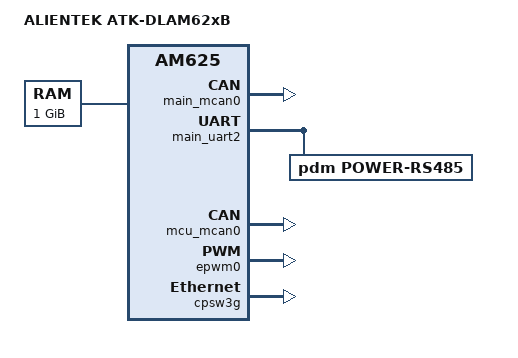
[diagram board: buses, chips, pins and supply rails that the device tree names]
// SPDX-License-Identifier: GPL-2.0-only OR MIT
/*
 * ALIENTEK ATK-DLAM62xB device tree
 */

/dts-v1/;

#include "k3-am625.dtsi"
#include "k3-am62x-sk-common.dtsi"

/ {
	model = "ALIENTEK ATK-DLAM62xB";
	compatible = "alientek,atk-dlam62xb", "ti,am625";

	aliases {
		serial3 = &main_uart2;
	};

	memory@80000000 {
		device_type = "memory";
		reg = <0x00000000 0x80000000 0x00000000 0x40000000>;
		bootph-pre-ram;
	};

	pdm_bus: pdm-bus {
		compatible = "pdm,bus-type";
		#address-cells = <1>;
		#size-cells = <0>;

		main_mcu: mcu@1 {
			compatible = "pdm,mcu-can";
			reg = <1>;
			pdm,id = <0>;
			pdm,name = "main_mcu";
			can-controller = <&main_mcan0>;
			pdm,rx-timeout-ms = <100>;
			pdm,can-fd;
		};

		satellite: satellite@2 {
			compatible = "pdm,satellite-can";
			reg = <2>;
			pdm,id = <0>;
			pdm,name = "satellite";
			can-controller = <&mcu_mcan0>;
			pdm,rx-timeout-ms = <100>;
			pdm,can-fd;
		};
	};

	/* These peripherals are specific to the TI AM625 SK. */
	/delete-node/ leds;
	/delete-node/ clk-0;
	/delete-node/ sound;
	/delete-node/ connector-hdmi;
};

&main_i2c0 {
	/delete-node/ eeprom@51;
	/delete-node/ tps6598x@3f;
};

&main_i2c1 {
	/delete-node/ audio-codec@1b;
	/delete-node/ bridge-hdmi@3b;
};

&usb0 {
	/delete-property/ usb-role-switch;
	/delete-node/ port;
};

&mcasp1 {
	status = "disabled";
};

&dss {
	status = "disabled";
};

&dss_ports {
	/delete-node/ port@1;
};

&main_pmx0 {
	/* J11 pins 3/4: UART2 via automatic-direction SP3485 U12. */
	atk_main_uart2_pins_default: atk-main-uart2-default-pins {
		pinctrl-single,pins = <
			AM62X_IOPAD(0x01d0, PIN_INPUT, 3) /* (A15) UART0_CTSn.UART2_RXD */
			AM62X_IOPAD(0x01d4, PIN_OUTPUT, 3) /* (B15) UART0_RTSn.UART2_TXD */
		>;
	};

	atk_main_mcan0_pins_default: atk-main-mcan0-default-pins {
		pinctrl-single,pins = <
			AM62X_IOPAD(0x01dc, PIN_INPUT, 0) /* (E15) MCAN0_RX */
			AM62X_IOPAD(0x01d8, PIN_OUTPUT, 0) /* (C15) MCAN0_TX */
		>;
	};

	/* Servo/debug PWM on fan connector J15 pin 4. */
	atk_epwm0_b_pins_default: atk-epwm0b-default-pins {
		pinctrl-single,pins = <
			AM62X_IOPAD(0x01b8, PIN_OUTPUT, 2) /* (C13) SPI0_CS1.EHRPWM0_B */
		>;
	};
};

&mcu_pmx0 {
	atk_mcu_mcan0_pins_default: atk-mcu-mcan0-default-pins {
		pinctrl-single,pins = <
			AM62X_MCU_IOPAD(0x034, PIN_OUTPUT, 0) /* (D6) MCU_MCAN0_TX */
			AM62X_MCU_IOPAD(0x038, PIN_INPUT, 0)  /* (B3) MCU_MCAN0_RX */
		>;
	};
};

&main_mcan0 {
	pinctrl-names = "default";
	pinctrl-0 = <&atk_main_mcan0_pins_default>;
	status = "okay";
};

&main_uart2 {
	pinctrl-names = "default";
	pinctrl-0 = <&atk_main_uart2_pins_default>;
	status = "okay";

	/* The board switches DE/RE using TXD, not UART RTS or a GPIO. */
	power-rs485 {
		compatible = "pdm,power-rs485";
		current-speed = <9600>;
		pdm,transaction-timeout-ms = <500>;
		#address-cells = <1>;
		#size-cells = <0>;

		/* The connected SPPS3010R-2KD responds at slave address 12. */
		dc_power: power@c {
			compatible = "pdm,power-modbus";
			reg = <12>;
			pdm,id = <0>;
			pdm,name = "dc_power";
			pdm,register-profile = "dual-independent";
			serial-controller = <&main_uart2>;
			pdm,max-voltage-microvolt = <30000000>;
			pdm,max-current-microamp = <10000000>;
		};
	};
};

&mcu_mcan0 {
	pinctrl-names = "default";
	pinctrl-0 = <&atk_mcu_mcan0_pins_default>;
	status = "okay";
};

&epwm0 {
	pinctrl-names = "default";
	pinctrl-0 = <&atk_epwm0_b_pins_default>;
	status = "okay";
};

/* The TF card and VDDSHV_SDIO are supplied directly from fixed 3.3 V. */
&sdhci1 {
	max-frequency = <25000000>;
	no-1-8-v;
	ti,otap-del-sel-legacy = <0x8>;
	ti,otap-del-sel-sd-hs = <0x0>;
	ti,otap-del-sel-sdr12 = <0x0>;
	ti,otap-del-sel-sdr25 = <0x0>;
	ti,otap-del-sel-sdr50 = <0x8>;
	ti,otap-del-sel-sdr104 = <0x7>;
	ti,otap-del-sel-ddr50 = <0x4>;
	ti,itap-del-sel-legacy = <0xa>;
	ti,itap-del-sel-sd-hs = <0x1>;
	ti,itap-del-sel-sdr12 = <0xa>;
	ti,itap-del-sel-sdr25 = <0x1>;
};

/* The board uses a Motorcomm YT8531C instead of the TI SK DP83867. */
&cpsw3g_phy0 {
	/delete-property/ ti,rx-internal-delay;
	/delete-property/ ti,fifo-depth;
	/delete-property/ ti,min-output-impedance;
	motorcomm,auto-sleep-disabled;
};

&cpsw3g {
	status = "okay";
};

&cpsw_port2 {
	status = "disabled";
};

&usbss0 {
	status = "disabled";
};

&usbss1 {
	status = "disabled";
};

&gpu {
	status = "disabled";
};

&pruss {
	status = "disabled";
};

&ecap0 {
	status = "disabled";
};

&ecap2 {
	status = "disabled";
};

&epwm1 {
	status = "disabled";
};

&mcu_m4fss {
	status = "disabled";
};

&wkup_r5fss0 {
	status = "disabled";
};

&wkup_r5fss0_core0 {
	status = "disabled";
};

&main_rti1 {
	status = "disabled";
};

&main_rti2 {
	status = "disabled";
};

&main_rti3 {
	status = "disabled";
};

&main_rti15 {
	status = "disabled";
};

/ {
    reserved-memory {
        bootlog_mem: bootlog@9c900000 {
            reg = <0x0 0x9c900000 0x0 0x10000>;
            no-map;
        };
    };
    bootlog {
        compatible = "bsp,bootlog-v1";
        memory-region = <&bootlog_mem>;
    };
};
